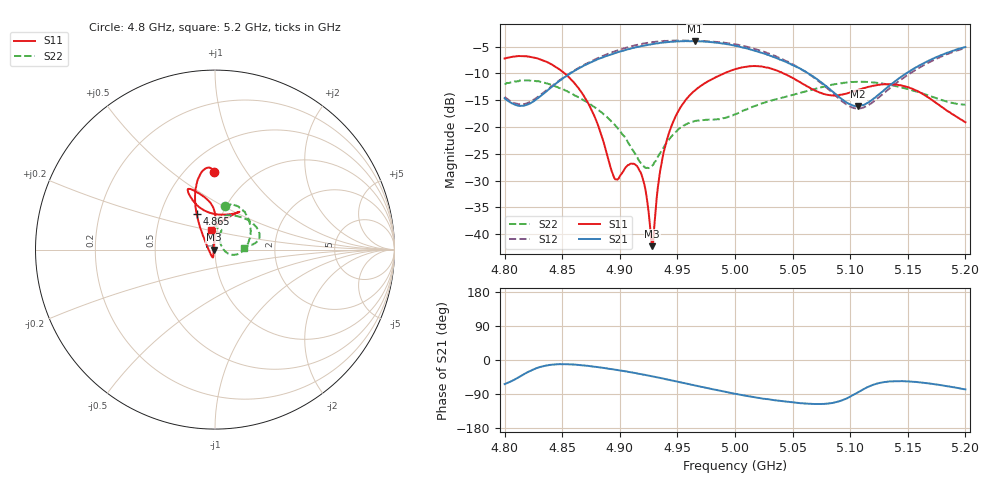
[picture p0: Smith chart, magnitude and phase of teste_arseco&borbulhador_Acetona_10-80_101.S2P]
! Network Analyzer HP8722D
! Hewlett-Packard
! Data name: Linha & Wilkinson
! Saver's name: Rodrigo Anjos
! Comments: Teste da utilização de aquisição
! continua pelo VNA HP8722D
! Time and date: 25/4/2025 16:06
!  Frequency  S11  S21  S12  S22
# HZ  S  MA R 50
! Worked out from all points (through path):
!   401 points, 4.8 GHz to 5.2 GHz, reference 50 ohm
!   highest |S21| = -3.97 dB at 4.965 GHz (marker M1); lowest = -16.1 dB at 5.107 GHz (marker M2)
!   lowest |S11| = -42.2 dB at 4.928 GHz (marker M3), VSWR 1.02, Z = 49.2 - j0.106 ohm
!   |S11| at or under -10 dB: 4.852 GHz to 4.991 GHz (138.6 MHz wide, 2.82 % of centre); 5.042 GHz to end of sweep
!   |S22| runs from -27.7 to -11.3 dB; largest |S21 - S12| = 1.2
!   S11 on the Smith chart (normalised r, x): 4.8 GHz: 0.68, +0.73; 4.865 GHz: 0.76, +0.32; 5.2 GHz: 0.94, +0.21
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4.8e9  0.4349 90.6  0.1854 -63.6  0.1901 69.9  0.2509 77.6
4.82e9  0.4532 96.9  0.162 -32.1  0.1674 98.7  0.273 61.3
4.845e9  0.36 107.4  0.2559 -11.4  0.2597 119.4  0.2373 34.0
4.865e9  0.2236 117.2  0.3542 -13.2  0.3589 120.8  0.1878 10.8
4.867e9  0.2083 118.3  0.3637 -13.9  0.369 120.6  0.1819 8.5
4.88e9  0.1111 128.8  0.4236 -18.5  0.4333 118.1  0.1478 -5.4
4.896e9  0.03251 -164.2  0.4886 -25.6  0.5091 113.2  0.1036 -16.1
4.909e9  0.04527 -108.6  0.5347 -32.1  0.5609 107.5  0.06683 -14.2
4.917e9  0.03934 -103.8  0.5618 -36.6  0.59 103.4  0.04777 -0.9
4.922e9  0.0269 -107.7  0.5758 -39.3  0.6045 100.5  0.04177 16.8
4.928e9  0.007737 -172.0  0.5904 -43.0  0.6183 96.8  0.04357 41.7
4.93e9  0.01207 125.3  0.5966 -44.3  0.6202 95.7  0.04668 48.2
4.934e9  0.03277 100.6  0.6046 -46.9  0.6297 93.1  0.05497 58.8
4.939e9  0.06358 93.1  0.6136 -50.0  0.6349 89.9  0.0671 66.1
4.946e9  0.1094 90.2  0.6234 -54.5  0.6393 85.5  0.08424 70.4
4.965e9  0.218 91.0  0.6332 -67.1  0.6361 73.3  0.1136 71.8
5e9  0.3456 109.1  0.5722 -89.3  0.5909 50.7  0.1309 88.3
5.03e9  0.3533 115.1  0.4644 -104.2  0.4797 33.7  0.1734 85.3
5.067e9  0.2254 105.2  0.2997 -115.9  0.297 23.6  0.2224 56.9
5.107e9  0.2221 63.9  0.1562 -84.9  0.1482 58.3  0.2635 24.0
5.134e9  0.2505 57.1  0.2424 -56.5  0.2278 88.7  0.2477 12.4
5.2e9  0.1108 100.5  0.5557 -77.6  0.5451 69.9  0.1614 3.8
